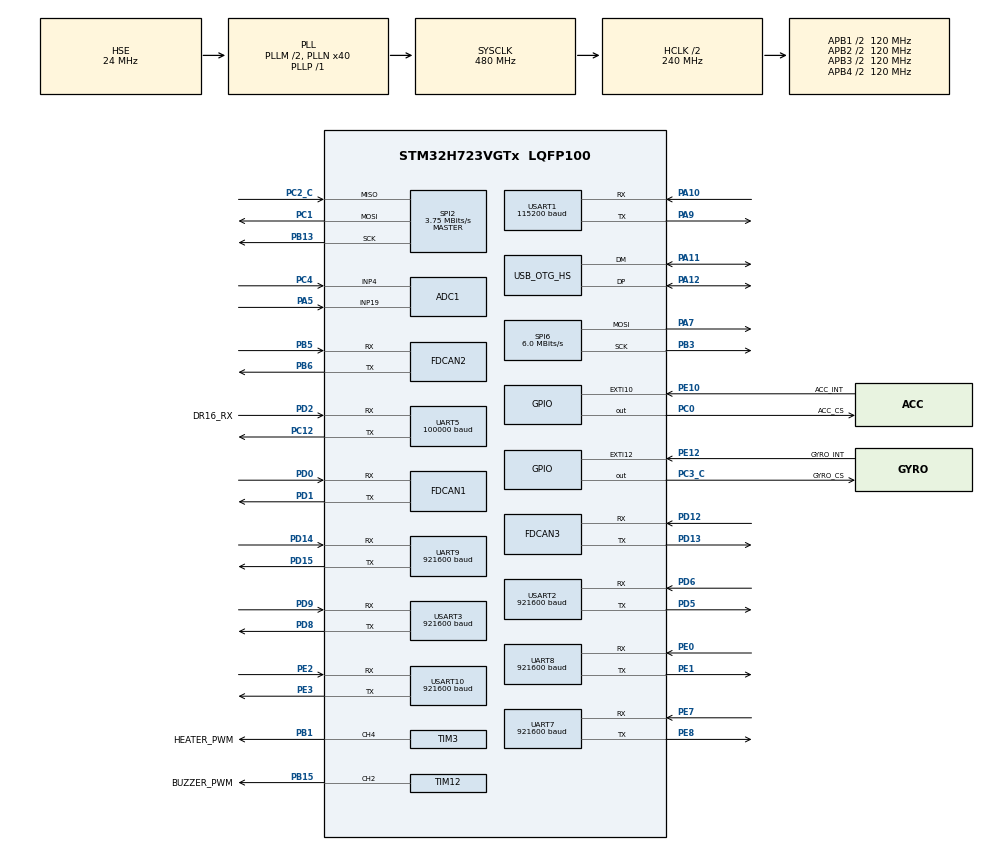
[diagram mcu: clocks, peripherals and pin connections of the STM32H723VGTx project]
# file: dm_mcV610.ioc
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ADC1.Channel-0\#ChannelRegularConversion=ADC_CHANNEL_4
ADC1.Channel-1\#ChannelRegularConversion=ADC_CHANNEL_19
ADC1.ClockPrescaler=ADC_CLOCK_ASYNC_DIV1
ADC1.ContinuousConvMode=ENABLE
ADC1.ConversionDataManagement=ADC_CONVERSIONDATA_DMA_CIRCULAR
ADC1.NbrOfConversion=2
ADC1.NbrOfConversionFlag=1
ADC1.OffsetNumber-0\#ChannelRegularConversion=ADC_OFFSET_NONE
ADC1.OffsetNumber-1\#ChannelRegularConversion=ADC_OFFSET_NONE
ADC1.OffsetSignedSaturation-0\#ChannelRegularConversion=DISABLE
ADC1.OffsetSignedSaturation-1\#ChannelRegularConversion=DISABLE
ADC1.Rank-0\#ChannelRegularConversion=1
ADC1.Rank-1\#ChannelRegularConversion=2
ADC1.SamplingTime-0\#ChannelRegularConversion=ADC_SAMPLETIME_32CYCLES_5
ADC1.SamplingTime-1\#ChannelRegularConversion=ADC_SAMPLETIME_32CYCLES_5
ADC1.master=1
CORTEX_M7.CPU_DCache=Enabled
CORTEX_M7.CPU_ICache=Enabled
CORTEX_M7.default_mode_Activation=1
Dma.ADC1.0.Direction=DMA_PERIPH_TO_MEMORY
Dma.ADC1.0.EventEnable=DISABLE
Dma.ADC1.0.FIFOMode=DMA_FIFOMODE_DISABLE
Dma.ADC1.0.Instance=DMA1_Stream0
Dma.ADC1.0.MemDataAlignment=DMA_MDATAALIGN_HALFWORD
Dma.ADC1.0.MemInc=DMA_MINC_ENABLE
Dma.ADC1.0.Mode=DMA_CIRCULAR
Dma.ADC1.0.PeriphDataAlignment=DMA_PDATAALIGN_HALFWORD
Dma.ADC1.0.PeriphInc=DMA_PINC_DISABLE
Dma.ADC1.0.Polarity=HAL_DMAMUX_REQ_GEN_RISING
Dma.ADC1.0.Priority=DMA_PRIORITY_LOW
Dma.ADC1.0.RequestNumber=1
Dma.ADC1.0.SignalID=NONE
Dma.ADC1.0.SyncEnable=DISABLE
Dma.ADC1.0.SyncPolarity=HAL_DMAMUX_SYNC_NO_EVENT
Dma.ADC1.0.SyncRequestNumber=1
Dma.ADC1.0.SyncSignalID=NONE
Dma.Request0=ADC1
Dma.Request1=UART5_RX
Dma.Request10=USART10_RX
Dma.Request11=USART10_TX
Dma.Request12=USART1_RX
Dma.Request13=USART1_TX
Dma.Request14=UART8_RX
Dma.Request15=UART9_RX
Dma.Request2=SPI2_RX
Dma.Request3=SPI2_TX
Dma.Request4=UART7_RX
Dma.Request5=UART7_TX
Dma.Request6=USART2_RX
Dma.Request7=USART2_TX
Dma.Request8=USART3_RX
Dma.Request9=USART3_TX
Dma.SPI2_RX.2.Direction=DMA_PERIPH_TO_MEMORY
Dma.SPI2_RX.2.EventEnable=DISABLE
Dma.SPI2_RX.2.FIFOMode=DMA_FIFOMODE_DISABLE
Dma.SPI2_RX.2.Instance=DMA1_Stream2
Dma.SPI2_RX.2.MemDataAlignment=DMA_MDATAALIGN_BYTE
Dma.SPI2_RX.2.MemInc=DMA_MINC_ENABLE
Dma.SPI2_RX.2.Mode=DMA_NORMAL
Dma.SPI2_RX.2.PeriphDataAlignment=DMA_PDATAALIGN_BYTE
Dma.SPI2_RX.2.PeriphInc=DMA_PINC_DISABLE
Dma.SPI2_RX.2.Polarity=HAL_DMAMUX_REQ_GEN_RISING
Dma.SPI2_RX.2.Priority=DMA_PRIORITY_LOW
Dma.SPI2_RX.2.RequestNumber=1
Dma.SPI2_RX.2.SignalID=NONE
Dma.SPI2_RX.2.SyncEnable=DISABLE
Dma.SPI2_RX.2.SyncPolarity=HAL_DMAMUX_SYNC_NO_EVENT
Dma.SPI2_RX.2.SyncRequestNumber=1
Dma.SPI2_RX.2.SyncSignalID=NONE
Dma.SPI2_TX.3.Direction=DMA_MEMORY_TO_PERIPH
Dma.SPI2_TX.3.EventEnable=DISABLE
Dma.SPI2_TX.3.FIFOMode=DMA_FIFOMODE_DISABLE
Dma.SPI2_TX.3.Instance=DMA1_Stream3
Dma.SPI2_TX.3.MemDataAlignment=DMA_MDATAALIGN_BYTE
Dma.SPI2_TX.3.MemInc=DMA_MINC_ENABLE
Dma.SPI2_TX.3.Mode=DMA_NORMAL
Dma.SPI2_TX.3.PeriphDataAlignment=DMA_PDATAALIGN_BYTE
Dma.SPI2_TX.3.PeriphInc=DMA_PINC_DISABLE
Dma.SPI2_TX.3.Polarity=HAL_DMAMUX_REQ_GEN_RISING
Dma.SPI2_TX.3.Priority=DMA_PRIORITY_LOW
Dma.SPI2_TX.3.RequestNumber=1
Dma.SPI2_TX.3.SignalID=NONE
Dma.SPI2_TX.3.SyncEnable=DISABLE
Dma.SPI2_TX.3.SyncPolarity=HAL_DMAMUX_SYNC_NO_EVENT
Dma.SPI2_TX.3.SyncRequestNumber=1
Dma.SPI2_TX.3.SyncSignalID=NONE
Dma.UART5_RX.1.Direction=DMA_PERIPH_TO_MEMORY
Dma.UART5_RX.1.EventEnable=DISABLE
Dma.UART5_RX.1.FIFOMode=DMA_FIFOMODE_DISABLE
Dma.UART5_RX.1.Instance=DMA1_Stream1
Dma.UART5_RX.1.MemDataAlignment=DMA_MDATAALIGN_BYTE
Dma.UART5_RX.1.MemInc=DMA_MINC_ENABLE
Dma.UART5_RX.1.Mode=DMA_NORMAL
Dma.UART5_RX.1.PeriphDataAlignment=DMA_PDATAALIGN_BYTE
Dma.UART5_RX.1.PeriphInc=DMA_PINC_DISABLE
Dma.UART5_RX.1.Polarity=HAL_DMAMUX_REQ_GEN_RISING
Dma.UART5_RX.1.Priority=DMA_PRIORITY_LOW
Dma.UART5_RX.1.RequestNumber=1
Dma.UART5_RX.1.SignalID=NONE
Dma.UART5_RX.1.SyncEnable=DISABLE
Dma.UART5_RX.1.SyncPolarity=HAL_DMAMUX_SYNC_NO_EVENT
Dma.UART5_RX.1.SyncRequestNumber=1
Dma.UART5_RX.1.SyncSignalID=NONE
Dma.UART7_RX.4.Direction=DMA_PERIPH_TO_MEMORY
Dma.UART7_RX.4.EventEnable=DISABLE
Dma.UART7_RX.4.FIFOMode=DMA_FIFOMODE_DISABLE
Dma.UART7_RX.4.Instance=DMA1_Stream4
Dma.UART7_RX.4.MemDataAlignment=DMA_MDATAALIGN_BYTE
Dma.UART7_RX.4.MemInc=DMA_MINC_ENABLE
Dma.UART7_RX.4.Mode=DMA_NORMAL
Dma.UART7_RX.4.PeriphDataAlignment=DMA_PDATAALIGN_BYTE
Dma.UART7_RX.4.PeriphInc=DMA_PINC_DISABLE
Dma.UART7_RX.4.Polarity=HAL_DMAMUX_REQ_GEN_RISING
Dma.UART7_RX.4.Priority=DMA_PRIORITY_LOW
Dma.UART7_RX.4.RequestNumber=1
Dma.UART7_RX.4.SignalID=NONE
Dma.UART7_RX.4.SyncEnable=DISABLE
Dma.UART7_RX.4.SyncPolarity=HAL_DMAMUX_SYNC_NO_EVENT
Dma.UART7_RX.4.SyncRequestNumber=1
Dma.UART7_RX.4.SyncSignalID=NONE
Dma.UART7_TX.5.Direction=DMA_MEMORY_TO_PERIPH
Dma.UART7_TX.5.EventEnable=DISABLE
Dma.UART7_TX.5.FIFOMode=DMA_FIFOMODE_DISABLE
Dma.UART7_TX.5.Instance=DMA1_Stream5
Dma.UART7_TX.5.MemDataAlignment=DMA_MDATAALIGN_BYTE
Dma.UART7_TX.5.MemInc=DMA_MINC_ENABLE
Dma.UART7_TX.5.Mode=DMA_NORMAL
Dma.UART7_TX.5.PeriphDataAlignment=DMA_PDATAALIGN_BYTE
Dma.UART7_TX.5.PeriphInc=DMA_PINC_DISABLE
Dma.UART7_TX.5.Polarity=HAL_DMAMUX_REQ_GEN_RISING
Dma.UART7_TX.5.Priority=DMA_PRIORITY_LOW
Dma.UART7_TX.5.RequestNumber=1
Dma.UART7_TX.5.SignalID=NONE
Dma.UART7_TX.5.SyncEnable=DISABLE
Dma.UART7_TX.5.SyncPolarity=HAL_DMAMUX_SYNC_NO_EVENT
Dma.UART7_TX.5.SyncRequestNumber=1
Dma.UART7_TX.5.SyncSignalID=NONE
Dma.USART10_RX.10.Direction=DMA_PERIPH_TO_MEMORY
Dma.USART10_RX.10.EventEnable=DISABLE
Dma.USART10_RX.10.FIFOMode=DMA_FIFOMODE_DISABLE
Dma.USART10_RX.10.Instance=DMA2_Stream4
Dma.USART10_RX.10.MemDataAlignment=DMA_MDATAALIGN_BYTE
Dma.USART10_RX.10.MemInc=DMA_MINC_ENABLE
Dma.USART10_RX.10.Mode=DMA_NORMAL
Dma.USART10_RX.10.PeriphDataAlignment=DMA_PDATAALIGN_BYTE
Dma.USART10_RX.10.PeriphInc=DMA_PINC_DISABLE
Dma.USART10_RX.10.Polarity=HAL_DMAMUX_REQ_GEN_RISING
Dma.USART10_RX.10.Priority=DMA_PRIORITY_LOW
Dma.USART10_RX.10.RequestNumber=1
Dma.USART10_RX.10.SignalID=NONE
Dma.USART10_RX.10.SyncEnable=DISABLE
Dma.USART10_RX.10.SyncPolarity=HAL_DMAMUX_SYNC_NO_EVENT
Dma.USART10_RX.10.SyncRequestNumber=1
Dma.USART10_RX.10.SyncSignalID=NONE
Dma.USART10_TX.11.Direction=DMA_MEMORY_TO_PERIPH
Dma.USART10_TX.11.EventEnable=DISABLE
Dma.USART10_TX.11.FIFOMode=DMA_FIFOMODE_DISABLE
Dma.USART10_TX.11.Instance=DMA2_Stream5
Dma.USART10_TX.11.MemDataAlignment=DMA_MDATAALIGN_BYTE
Dma.USART10_TX.11.MemInc=DMA_MINC_ENABLE
Dma.USART10_TX.11.Mode=DMA_NORMAL
Dma.USART10_TX.11.PeriphDataAlignment=DMA_PDATAALIGN_BYTE
Dma.USART10_TX.11.PeriphInc=DMA_PINC_DISABLE
Dma.USART10_TX.11.Polarity=HAL_DMAMUX_REQ_GEN_RISING
Dma.USART10_TX.11.Priority=DMA_PRIORITY_LOW
Dma.USART10_TX.11.RequestNumber=1
Dma.USART10_TX.11.SignalID=NONE
Dma.USART10_TX.11.SyncEnable=DISABLE
Dma.USART10_TX.11.SyncPolarity=HAL_DMAMUX_SYNC_NO_EVENT
Dma.USART10_TX.11.SyncRequestNumber=1
Dma.USART10_TX.11.SyncSignalID=NONE
Dma.USART1_RX.12.Direction=DMA_PERIPH_TO_MEMORY
Dma.USART1_RX.12.EventEnable=DISABLE
Dma.USART1_RX.12.FIFOMode=DMA_FIFOMODE_DISABLE
Dma.USART1_RX.12.Instance=DMA1_Stream6
Dma.USART1_RX.12.MemDataAlignment=DMA_MDATAALIGN_BYTE
Dma.USART1_RX.12.MemInc=DMA_MINC_ENABLE
Dma.USART1_RX.12.Mode=DMA_NORMAL
Dma.USART1_RX.12.PeriphDataAlignment=DMA_PDATAALIGN_BYTE
Dma.USART1_RX.12.PeriphInc=DMA_PINC_DISABLE
Dma.USART1_RX.12.Polarity=HAL_DMAMUX_REQ_GEN_RISING
Dma.USART1_RX.12.Priority=DMA_PRIORITY_LOW
Dma.USART1_RX.12.RequestNumber=1
Dma.USART1_RX.12.SignalID=NONE
Dma.USART1_RX.12.SyncEnable=DISABLE
Dma.USART1_RX.12.SyncPolarity=HAL_DMAMUX_SYNC_NO_EVENT
Dma.USART1_RX.12.SyncRequestNumber=1
Dma.USART1_RX.12.SyncSignalID=NONE
Dma.USART1_TX.13.Direction=DMA_MEMORY_TO_PERIPH
Dma.USART1_TX.13.EventEnable=DISABLE
Dma.USART1_TX.13.FIFOMode=DMA_FIFOMODE_DISABLE
Dma.USART1_TX.13.Instance=DMA1_Stream7
Dma.USART1_TX.13.MemDataAlignment=DMA_MDATAALIGN_BYTE
Dma.USART1_TX.13.MemInc=DMA_MINC_ENABLE
Dma.USART1_TX.13.Mode=DMA_NORMAL
Dma.USART1_TX.13.PeriphDataAlignment=DMA_PDATAALIGN_BYTE
Dma.USART1_TX.13.PeriphInc=DMA_PINC_DISABLE
Dma.USART1_TX.13.Polarity=HAL_DMAMUX_REQ_GEN_RISING
Dma.USART1_TX.13.Priority=DMA_PRIORITY_LOW
Dma.USART1_TX.13.RequestNumber=1
Dma.USART1_TX.13.SignalID=NONE
Dma.USART1_TX.13.SyncEnable=DISABLE
Dma.USART1_TX.13.SyncPolarity=HAL_DMAMUX_SYNC_NO_EVENT
Dma.USART1_TX.13.SyncRequestNumber=1
Dma.USART1_TX.13.SyncSignalID=NONE
Dma.USART2_RX.6.Direction=DMA_PERIPH_TO_MEMORY
Dma.USART2_RX.6.EventEnable=DISABLE
Dma.USART2_RX.6.FIFOMode=DMA_FIFOMODE_DISABLE
Dma.USART2_RX.6.Instance=DMA2_Stream0
Dma.USART2_RX.6.MemDataAlignment=DMA_MDATAALIGN_BYTE
Dma.USART2_RX.6.MemInc=DMA_MINC_ENABLE
Dma.USART2_RX.6.Mode=DMA_NORMAL
Dma.USART2_RX.6.PeriphDataAlignment=DMA_PDATAALIGN_BYTE
Dma.USART2_RX.6.PeriphInc=DMA_PINC_DISABLE
Dma.USART2_RX.6.Polarity=HAL_DMAMUX_REQ_GEN_RISING
Dma.USART2_RX.6.Priority=DMA_PRIORITY_LOW
Dma.USART2_RX.6.RequestNumber=1
Dma.USART2_RX.6.SignalID=NONE
Dma.USART2_RX.6.SyncEnable=DISABLE
Dma.USART2_RX.6.SyncPolarity=HAL_DMAMUX_SYNC_NO_EVENT
Dma.USART2_RX.6.SyncRequestNumber=1
Dma.USART2_RX.6.SyncSignalID=NONE
Dma.USART2_TX.7.Direction=DMA_MEMORY_TO_PERIPH
Dma.USART2_TX.7.EventEnable=DISABLE
Dma.USART2_TX.7.FIFOMode=DMA_FIFOMODE_DISABLE
Dma.USART2_TX.7.Instance=DMA2_Stream1
Dma.USART2_TX.7.MemDataAlignment=DMA_MDATAALIGN_BYTE
Dma.USART2_TX.7.MemInc=DMA_MINC_ENABLE
Dma.USART2_TX.7.Mode=DMA_NORMAL
Dma.USART2_TX.7.PeriphDataAlignment=DMA_PDATAALIGN_BYTE
Dma.USART2_TX.7.PeriphInc=DMA_PINC_DISABLE
Dma.USART2_TX.7.Polarity=HAL_DMAMUX_REQ_GEN_RISING
Dma.USART2_TX.7.Priority=DMA_PRIORITY_LOW
Dma.USART2_TX.7.RequestNumber=1
Dma.USART2_TX.7.SignalID=NONE
Dma.USART2_TX.7.SyncEnable=DISABLE
Dma.USART2_TX.7.SyncPolarity=HAL_DMAMUX_SYNC_NO_EVENT
Dma.USART2_TX.7.SyncRequestNumber=1
Dma.USART2_TX.7.SyncSignalID=NONE
Dma.USART3_RX.8.Direction=DMA_PERIPH_TO_MEMORY
Dma.USART3_RX.8.EventEnable=DISABLE
Dma.USART3_RX.8.FIFOMode=DMA_FIFOMODE_DISABLE
Dma.USART3_RX.8.Instance=DMA2_Stream2
Dma.USART3_RX.8.MemDataAlignment=DMA_MDATAALIGN_BYTE
Dma.USART3_RX.8.MemInc=DMA_MINC_ENABLE
Dma.USART3_RX.8.Mode=DMA_NORMAL
Dma.USART3_RX.8.PeriphDataAlignment=DMA_PDATAALIGN_BYTE
Dma.USART3_RX.8.PeriphInc=DMA_PINC_DISABLE
Dma.USART3_RX.8.Polarity=HAL_DMAMUX_REQ_GEN_RISING
Dma.USART3_RX.8.Priority=DMA_PRIORITY_LOW
Dma.USART3_RX.8.RequestNumber=1
Dma.USART3_RX.8.SignalID=NONE
Dma.USART3_RX.8.SyncEnable=DISABLE
Dma.USART3_RX.8.SyncPolarity=HAL_DMAMUX_SYNC_NO_EVENT
Dma.USART3_RX.8.SyncRequestNumber=1
Dma.USART3_RX.8.SyncSignalID=NONE
Dma.USART3_TX.9.Direction=DMA_MEMORY_TO_PERIPH
Dma.USART3_TX.9.EventEnable=DISABLE
Dma.USART3_TX.9.FIFOMode=DMA_FIFOMODE_DISABLE
Dma.USART3_TX.9.Instance=DMA2_Stream3
Dma.USART3_TX.9.MemDataAlignment=DMA_MDATAALIGN_BYTE
Dma.USART3_TX.9.MemInc=DMA_MINC_ENABLE
Dma.USART3_TX.9.Mode=DMA_NORMAL
Dma.USART3_TX.9.PeriphDataAlignment=DMA_PDATAALIGN_BYTE
Dma.USART3_TX.9.PeriphInc=DMA_PINC_DISABLE
Dma.USART3_TX.9.Polarity=HAL_DMAMUX_REQ_GEN_RISING
Dma.USART3_TX.9.Priority=DMA_PRIORITY_LOW
Dma.USART3_TX.9.RequestNumber=1
Dma.USART3_TX.9.SignalID=NONE
Dma.USART3_TX.9.SyncEnable=DISABLE
Dma.USART3_TX.9.SyncPolarity=HAL_DMAMUX_SYNC_NO_EVENT
Dma.USART3_TX.9.SyncRequestNumber=1
Dma.USART3_TX.9.SyncSignalID=NONE
Dma.UART8_RX.14.Direction=DMA_PERIPH_TO_MEMORY
Dma.UART8_RX.14.EventEnable=DISABLE
Dma.UART8_RX.14.FIFOMode=DMA_FIFOMODE_DISABLE
Dma.UART8_RX.14.Instance=DMA2_Stream6
Dma.UART8_RX.14.MemDataAlignment=DMA_MDATAALIGN_BYTE
Dma.UART8_RX.14.MemInc=DMA_MINC_ENABLE
Dma.UART8_RX.14.Mode=DMA_NORMAL
Dma.UART8_RX.14.PeriphDataAlignment=DMA_PDATAALIGN_BYTE
Dma.UART8_RX.14.PeriphInc=DMA_PINC_DISABLE
Dma.UART8_RX.14.Polarity=HAL_DMAMUX_REQ_GEN_RISING
Dma.UART8_RX.14.Priority=DMA_PRIORITY_LOW
Dma.UART8_RX.14.RequestNumber=1
Dma.UART8_RX.14.SignalID=NONE
Dma.UART8_RX.14.SyncEnable=DISABLE
Dma.UART8_RX.14.SyncPolarity=HAL_DMAMUX_SYNC_NO_EVENT
Dma.UART8_RX.14.SyncRequestNumber=1
Dma.UART8_RX.14.SyncSignalID=NONE
Dma.UART9_RX.15.Direction=DMA_PERIPH_TO_MEMORY
Dma.UART9_RX.15.EventEnable=DISABLE
Dma.UART9_RX.15.FIFOMode=DMA_FIFOMODE_DISABLE
Dma.UART9_RX.15.Instance=DMA2_Stream7
Dma.UART9_RX.15.MemDataAlignment=DMA_MDATAALIGN_BYTE
Dma.UART9_RX.15.MemInc=DMA_MINC_ENABLE
Dma.UART9_RX.15.Mode=DMA_NORMAL
Dma.UART9_RX.15.PeriphDataAlignment=DMA_PDATAALIGN_BYTE
Dma.UART9_RX.15.PeriphInc=DMA_PINC_DISABLE
Dma.UART9_RX.15.Polarity=HAL_DMAMUX_REQ_GEN_RISING
Dma.UART9_RX.15.Priority=DMA_PRIORITY_LOW
Dma.UART9_RX.15.RequestNumber=1
Dma.UART9_RX.15.SignalID=NONE
Dma.UART9_RX.15.SyncEnable=DISABLE
Dma.UART9_RX.15.SyncPolarity=HAL_DMAMUX_SYNC_NO_EVENT
Dma.UART9_RX.15.SyncRequestNumber=1
Dma.UART9_RX.15.SyncSignalID=NONE
FDCAN1.AutoRetransmission=ENABLE
FDCAN1.CalculateBaudRateNominal=1000000
FDCAN1.CalculateTimeBitNominal=1000
FDCAN1.CalculateTimeQuantumNominal=25.0
FDCAN1.NominalPrescaler=3
FDCAN1.NominalTimeSeg1=29
FDCAN1.NominalTimeSeg2=10
FDCAN1.RxFifo0ElmtsNbr=32
FDCAN1.StdFiltersNbr=1
FDCAN1.TxFifoQueueElmtsNbr=32
FDCAN2.AutoRetransmission=ENABLE
FDCAN2.CalculateBaudRateNominal=1000000
FDCAN2.CalculateTimeBitNominal=1000
FDCAN2.CalculateTimeQuantumNominal=25.0
FDCAN2.MessageRAMOffset=0x406
FDCAN2.NominalPrescaler=3
FDCAN2.NominalTimeSeg1=29
FDCAN2.NominalTimeSeg2=10
FDCAN2.ProtocolException=DISABLE
FDCAN2.RxFifo1ElmtsNbr=32
FDCAN2.StdFiltersNbr=1
FDCAN2.TransmitPause=DISABLE
FDCAN2.TxEventsNbr=8
FDCAN2.TxFifoQueueElmtsNbr=32
FDCAN3.AutoRetransmission=ENABLE
FDCAN3.CalculateBaudRateNominal=1000000
FDCAN3.CalculateTimeBitNominal=1000
FDCAN3.CalculateTimeQuantumNominal=25.0
FDCAN3.MessageRAMOffset=0x812
FDCAN3.NominalPrescaler=3
FDCAN3.NominalTimeSeg1=29
FDCAN3.NominalTimeSeg2=10
FDCAN3.RxFifo1ElmtsNbr=32
FDCAN3.StdFiltersNbr=1
FDCAN3.TxEventsNbr=4
FDCAN3.TxFifoQueueElmtsNbr=32
FREERTOS.configCHECK_FOR_STACK_OVERFLOW=1
FREERTOS.configGENERATE_RUN_TIME_STATS=0
FREERTOS.configMAX_PRIORITIES=10
FREERTOS.configTIMER_TASK_PRIORITY=9
FREERTOS.configTOTAL_HEAP_SIZE=30720
FREERTOS.configUSE_STATS_FORMATTING_FUNCTIONS=0
FREERTOS.configUSE_TIMERS=1
Mcu.Family=STM32H7
Mcu.Name=STM32H723VGTx
Mcu.Package=LQFP100
NVIC.DMA1_Stream0_IRQn=true\:5\:0\:false\:false\:true\:true\:false\:true\:true
NVIC.DMA1_Stream1_IRQn=true\:5\:0\:false\:false\:true\:true\:false\:true\:true
NVIC.DMA1_Stream2_IRQn=true\:5\:0\:false\:false\:true\:true\:false\:true\:true
NVIC.DMA1_Stream3_IRQn=true\:5\:0\:false\:false\:true\:true\:false\:true\:true
NVIC.DMA1_Stream4_IRQn=true\:5\:0\:false\:false\:true\:true\:false\:true\:true
NVIC.DMA1_Stream5_IRQn=true\:5\:0\:false\:false\:true\:true\:false\:true\:true
NVIC.DMA1_Stream6_IRQn=true\:5\:0\:false\:false\:true\:true\:false\:true\:true
NVIC.DMA1_Stream7_IRQn=true\:5\:0\:false\:false\:true\:true\:false\:true\:true
NVIC.DMA2_Stream0_IRQn=true\:5\:0\:false\:false\:true\:true\:false\:true\:true
NVIC.DMA2_Stream1_IRQn=true\:5\:0\:false\:false\:true\:true\:false\:true\:true
NVIC.DMA2_Stream2_IRQn=true\:5\:0\:false\:false\:true\:true\:false\:true\:true
NVIC.DMA2_Stream3_IRQn=true\:5\:0\:false\:false\:true\:true\:false\:true\:true
NVIC.DMA2_Stream4_IRQn=true\:5\:0\:false\:false\:true\:true\:false\:true\:true
NVIC.DMA2_Stream5_IRQn=true\:5\:0\:false\:false\:true\:true\:false\:true\:true
NVIC.DMA2_Stream6_IRQn=true\:5\:0\:false\:false\:true\:true\:false\:true\:true
NVIC.DMA2_Stream7_IRQn=true\:5\:0\:false\:false\:true\:true\:false\:true\:true
NVIC.EXTI15_10_IRQn=true\:5\:0\:true\:false\:true\:true\:true\:true\:true
NVIC.FDCAN1_IT0_IRQn=true\:5\:0\:false\:false\:true\:true\:true\:true\:true
NVIC.FDCAN1_IT1_IRQn=true\:5\:0\:false\:false\:true\:true\:true\:true\:true
NVIC.FDCAN2_IT0_IRQn=true\:5\:0\:false\:false\:true\:true\:true\:true\:true
NVIC.FDCAN2_IT1_IRQn=true\:5\:0\:false\:false\:true\:true\:true\:true\:true
NVIC.FDCAN3_IT0_IRQn=true\:5\:0\:false\:false\:true\:true\:true\:true\:true
NVIC.FDCAN3_IT1_IRQn=true\:5\:0\:false\:false\:true\:true\:true\:true\:true
NVIC.OTG_HS_IRQn=true\:5\:0\:false\:false\:true\:true\:false\:true\:true
NVIC.PriorityGroup=NVIC_PRIORITYGROUP_4
NVIC.SPI2_IRQn=true\:5\:0\:false\:false\:true\:true\:false\:true\:true
NVIC.TIM4_IRQn=true\:15\:0\:false\:false\:true\:false\:false\:true\:true
NVIC.TimeBase=TIM4_IRQn
NVIC.TimeBaseIP=TIM4
NVIC.UART8_IRQn=true\:5\:0\:false\:false\:true\:true\:true\:true\:true
NVIC.UART9_IRQn=true\:5\:0\:false\:false\:true\:true\:true\:true\:true
NVIC.UART5_IRQn=true\:5\:0\:false\:false\:true\:true\:true\:true\:true
NVIC.UART7_IRQn=true\:5\:0\:false\:false\:true\:true\:true\:true\:true
NVIC.USART10_IRQn=true\:5\:0\:false\:false\:true\:true\:true\:true\:true
NVIC.USART1_IRQn=true\:5\:0\:false\:false\:true\:true\:true\:true\:true
NVIC.USART2_IRQn=true\:5\:0\:false\:false\:true\:true\:true\:true\:true
NVIC.USART3_IRQn=true\:5\:0\:false\:false\:true\:true\:true\:true\:true
PA10.GPIO_PuPd=GPIO_PULLUP
PA10.Mode=Asynchronous
PA10.Signal=USART1_RX
PA11.Mode=Device_Only_FS
PA11.Signal=USB_OTG_HS_DM
PA12.Mode=Device_Only_FS
PA12.Signal=USB_OTG_HS_DP
PA5.Signal=ADCx_INP19
PA7.Mode=TX_Only_Simplex_Unidirect_Master
PA7.Signal=SPI6_MOSI
PA9.Mode=Asynchronous
PA9.Signal=USART1_TX
PB1.GPIO_Label=HEATER_PWM
PB1.Signal=S_TIM3_CH4
PB13.GPIO_Speed=GPIO_SPEED_FREQ_VERY_HIGH
PB13.Mode=Full_Duplex_Master
PB13.Signal=SPI2_SCK
PB15.GPIO_Label=BUZZER_PWM
PB15.Signal=S_TIM12_CH2
PB3(JTDO/TRACESWO).Mode=TX_Only_Simplex_Unidirect_Master
PB3(JTDO/TRACESWO).Signal=SPI6_SCK
PB5.Mode=FDCAN_Activate
PB5.Signal=FDCAN2_RX
PB6.Mode=FDCAN_Activate
PB6.Signal=FDCAN2_TX
PC0.GPIO_Label=ACC_CS
PC0.GPIO_Speed=GPIO_SPEED_FREQ_VERY_HIGH
PC0.PinState=GPIO_PIN_SET
PC0.Signal=GPIO_Output
PC1.GPIO_Speed=GPIO_SPEED_FREQ_VERY_HIGH
PC1.Mode=Full_Duplex_Master
PC1.Signal=SPI2_MOSI
PC12.Mode=Asynchronous
PC12.Signal=UART5_TX
PC2_C.GPIO_Speed=GPIO_SPEED_FREQ_VERY_HIGH
PC2_C.Mode=Full_Duplex_Master
PC2_C.Signal=SPI2_MISO
PC3_C.GPIO_Label=GYRO_CS
PC3_C.GPIO_Speed=GPIO_SPEED_FREQ_VERY_HIGH
PC3_C.PinState=GPIO_PIN_SET
PC3_C.Signal=GPIO_Output
PC4.Signal=ADCx_INP4
PD0.Mode=FDCAN_Activate
PD0.Signal=FDCAN1_RX
PD1.Mode=FDCAN_Activate
PD1.Signal=FDCAN1_TX
PD12.Mode=FDCAN_Activate
PD12.Signal=FDCAN3_RX
PD13.Mode=FDCAN_Activate
PD13.Signal=FDCAN3_TX
PD14.Mode=Asynchronous
PD14.Signal=UART9_RX
PD15.Mode=Asynchronous
PD15.Signal=UART9_TX
PD2.GPIO_Label=DR16_RX
PD2.GPIO_PuPd=GPIO_PULLUP
PD2.Mode=Asynchronous
PD2.Signal=UART5_RX
PD5.Mode=Asynchronous
PD5.Signal=USART2_TX
PD6.GPIO_PuPd=GPIO_PULLUP
PD6.Mode=Asynchronous
PD6.Signal=USART2_RX
PD8.Mode=Asynchronous
PD8.Signal=USART3_TX
PD9.GPIO_PuPd=GPIO_PULLUP
PD9.Mode=Asynchronous
PD9.Signal=USART3_RX
PE0.GPIO_PuPd=GPIO_PULLUP
PE0.Mode=Asynchronous
PE0.Signal=UART8_RX
PE1.Mode=Asynchronous
PE1.Signal=UART8_TX
PE10.GPIO_Label=ACC_INT
PE10.GPIO_PuPd=GPIO_NOPULL
PE10.Signal=GPXTI10
PE12.GPIO_Label=GYRO_INT
PE12.GPIO_PuPd=GPIO_NOPULL
PE12.Signal=GPXTI12
PE2.GPIO_PuPd=GPIO_PULLUP
PE2.Mode=Asynchronous
PE2.Signal=USART10_RX
PE3.Mode=Asynchronous
PE3.Signal=USART10_TX
PE7.GPIO_PuPd=GPIO_PULLUP
PE7.Mode=Asynchronous
PE7.Signal=UART7_RX
PE8.Mode=Asynchronous
PE8.Signal=UART7_TX
PH0-OSC_IN.Mode=HSE-External-Oscillator
PH0-OSC_IN.Signal=RCC_OSC_IN
PH1-OSC_OUT.Mode=HSE-External-Oscillator
PH1-OSC_OUT.Signal=RCC_OSC_OUT
ProjectManager.HeapSize=0x200
ProjectManager.StackSize=0x400
ProjectManager.TargetToolchain=MDK-ARM V5.32
RCC.ADCCLockSelection=RCC_ADCCLKSOURCE_PLL3
RCC.ADCFreq_Value=48000000
RCC.APB1Freq_Value=120000000
RCC.APB2Freq_Value=120000000
RCC.APB3Freq_Value=120000000
RCC.APB4Freq_Value=120000000
RCC.CKPERSourceSelection=RCC_CLKPSOURCE_HSE
RCC.CortexFreq_Value=480000000
RCC.D1PPRE=RCC_APB3_DIV2
RCC.D2PPRE1=RCC_APB1_DIV2
RCC.D2PPRE2=RCC_APB2_DIV2
RCC.D3PPRE=RCC_APB4_DIV2
RCC.DIVM1=2
RCC.DIVM2=2
RCC.DIVM3=2
RCC.DIVN1=40
RCC.DIVN2=32
RCC.DIVN3=16
RCC.DIVP1=1
RCC.DIVQ1=4
RCC.DIVR3=4
RCC.HCLKFreq_Value=240000000
RCC.HPRE=RCC_HCLK_DIV2
RCC.HSE_VALUE=24000000
RCC.PLL1_VCI_Range-AdvancedSettings=RCC_PLL1VCIRANGE_3
RCC.PLL1_VCO_SEL-AdvancedSettings=RCC_PLL1VCOWIDE
RCC.PLL2FRACN=0
RCC.PLL2_VCI_Range-AdvancedSettings=RCC_PLL2VCIRANGE_3
RCC.PLL2_VCO_SEL-AdvancedSettings=RCC_PLL2VCOWIDE
RCC.PLL3FRACN=0
RCC.PLL3_VCO_SEL-AdvancedSettings=RCC_PLL3VCOWIDE
RCC.PLLFRACN=0
RCC.PLLSourceVirtual=RCC_PLLSOURCE_HSE
RCC.SPI6CLockSelection=RCC_SPI6CLKSOURCE_HSE
RCC.SYSCLKFreq_VALUE=480000000
RCC.SYSCLKSource=RCC_SYSCLKSOURCE_PLLCLK
RCC.USBCLockSelection=RCC_USBCLKSOURCE_HSI48
RCC.USBFreq_Value=48000000
SH.ADCx_INP19.0=ADC1_INP19,IN19-Single-Ended
SH.ADCx_INP4.0=ADC1_INP4,IN4-Single-Ended
SH.S_TIM12_CH2.0=TIM12_CH2,PWM Generation2 CH2
SH.S_TIM3_CH4.0=TIM3_CH4,PWM Generation4 CH4
SPI2.BaudRatePrescaler=SPI_BAUDRATEPRESCALER_32
SPI2.CLKPhase=SPI_PHASE_2EDGE
SPI2.CLKPolarity=SPI_POLARITY_HIGH
SPI2.CalculateBaudRate=3.75 MBits/s
SPI2.DataSize=SPI_DATASIZE_8BIT
SPI2.Direction=SPI_DIRECTION_2LINES
SPI2.Mode=SPI_MODE_MASTER
SPI2.VirtualType=VM_MASTER
SPI6.BaudRatePrescaler=SPI_BAUDRATEPRESCALER_4
SPI6.CalculateBaudRate=6.0 MBits/s
SPI6.DataSize=SPI_DATASIZE_8BIT
SPI6.Direction=SPI_DIRECTION_2LINES_TXONLY
SPI6.Mode=SPI_MODE_MASTER
SPI6.VirtualType=VM_MASTER
TIM12.Channel-PWM\ Generation2\ CH2=TIM_CHANNEL_2
TIM12.OC2Preload_PWM=DISABLE
TIM12.Period=250-1
TIM12.Prescaler=240-1
TIM3.Channel-PWM\ Generation4\ CH4=TIM_CHANNEL_4
TIM3.Period=10000-1
TIM3.Prescaler=240-1
UART5.BaudRate=100000
UART5.Mode=MODE_RX
UART5.Parity=PARITY_EVEN
UART5.StopBits=UART_STOPBITS_2
UART5.WordLength=WORDLENGTH_9B
UART8.BaudRate=921600
UART8.VirtualMode=VM_ASYNC
UART7.BaudRate=921600
UART9.BaudRate=921600
UART9.VirtualMode=VM_ASYNC
USART1.BaudRate=115200
USART1.VirtualMode-Asynchronous=VM_ASYNC
USART10.BaudRate=921600
USART10.VirtualMode=VM_ASYNC
USART2.BaudRate=921600
USART2.VirtualMode-Asynchronous=VM_ASYNC
USART3.BaudRate=921600
USART3.VirtualMode-Asynchronous=VM_ASYNC
USB_DEVICE.CLASS_NAME_HS=CDC
USB_DEVICE.VirtualMode=Cdc
USB_DEVICE.VirtualModeHS=Cdc_HS
USB_OTG_HS.VirtualMode-Device_Only_FS=Device_Only_FS
VP_FREERTOS_VS_CMSIS_V1.Mode=CMSIS_V1
VP_SYS_VS_tim4.Mode=TIM4
VP_USB_DEVICE_VS_USB_DEVICE_CDC_HS.Mode=CDC_HS
board=custom

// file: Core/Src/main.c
/* USER CODE BEGIN Header */
/**
  ******************************************************************************
  * @file           : main.c
  * @brief          : Main program body
  ******************************************************************************
  * @attention
  *
  * Copyright (c) 2026 STMicroelectronics.
  * All rights reserved.
  *
  * This software is licensed under terms that can be found in the LICENSE file
  * in the root directory of this software component.
  * If no LICENSE file comes with this software, it is provided AS-IS.
  *
  ******************************************************************************
  */
/* USER CODE END Header */
#include "main.h"
#include "cmsis_os.h"
#include "adc.h"
#include "dma.h"
#include "fdcan.h"
#include "spi.h"
#include "tim.h"
#include "usart.h"
#include "usb_device.h"
#include "gpio.h"

/* USER CODE BEGIN Includes */
#include "task.h"
/* USER CODE END Includes */

/* USER CODE BEGIN PTD */
/* 临时黑匣子：Error_Handler 一旦被执行，就把当时的现场留在 g_crash 里，
 * 调试器直接读这个结构体就能知道「谁、从哪、什么时候」把系统带死的。
 * 排查完删掉即可。 */
typedef struct
{
  uint32_t magic;      /* 0x43524153('CRAS') 表示记录有效 */
  uint32_t hits;       /* 进入 Error_Handler 的次数 */
  uint32_t lr;         /* 调用者返回地址 */
  uint32_t psp;        /* 任务栈指针 */
  uint32_t msp;        /* 中断栈指针 */
  uint32_t ipsr;       /* 0=线程模式(任务里)，非0=中断里 */
  uint32_t tick;       /* HAL 时基，单位 ms */
  uint32_t tcb;        /* 当时的 pxCurrentTCB */
  char     task[16];   /* 当时的任务名 */
} CrashRecord_t;
/* USER CODE END PTD */

/* USER CODE BEGIN PV */
volatile CrashRecord_t g_crash;
/* USER CODE END PV */

void SystemClock_Config(void);
static void MPU_Config(void);
void MX_FREERTOS_Init(void);
/* USER CODE BEGIN PFP */
/* FreeRTOS 当前任务控制块，定义在 tasks.c，用来在黑匣子里记录当时的任务 */
extern void * volatile pxCurrentTCB;
/* USER CODE END PFP */

int main(void)
{

  /* MPU Configuration--------------------------------------------------------*/
  MPU_Config();
/* Enable the CPU Cache */

  /* Enable I-Cache---------------------------------------------------------*/
  SCB_EnableICache();

  /* Enable D-Cache---------------------------------------------------------*/
  SCB_EnableDCache();

  /* MCU Configuration--------------------------------------------------------*/

  /* Reset of all peripherals, Initializes the Flash interface and the Systick. */
  HAL_Init();

  /* Configure the system clock */
  SystemClock_Config();

  /* Initialize all configured peripherals */
  MX_GPIO_Init();
  MX_DMA_Init();
  MX_ADC1_Init();
  MX_UART5_Init();
  MX_FDCAN1_Init();
  MX_FDCAN2_Init();
  MX_FDCAN3_Init();
  MX_SPI2_Init();
  MX_SPI6_Init();
  MX_UART7_Init();
  MX_USART2_UART_Init();
  MX_USART3_UART_Init();
  MX_USART10_UART_Init();
  MX_UART8_Init();
  MX_UART9_Init();
  MX_USART1_UART_Init();
  MX_TIM3_Init();
  MX_TIM12_Init();

  /* Call init function for freertos objects (in freertos.c) */
  MX_FREERTOS_Init();

  /* Start scheduler */
  osKernelStart();

  /* We should never get here as control is now taken by the scheduler */
  /* Infinite loop */
  while (1)
  {

  }
}

void SystemClock_Config(void)
{
  RCC_OscInitTypeDef RCC_OscInitStruct = {0};
  RCC_ClkInitTypeDef RCC_ClkInitStruct = {0};

  /** Supply configuration update enable
  */
  HAL_PWREx_ConfigSupply(PWR_LDO_SUPPLY);

  /** Configure the main internal regulator output voltage
  */
  __HAL_PWR_VOLTAGESCALING_CONFIG(PWR_REGULATOR_VOLTAGE_SCALE0);

  while(!__HAL_PWR_GET_FLAG(PWR_FLAG_VOSRDY)) {}

  /** Initializes the RCC Oscillators according to the specified parameters
  * in the RCC_OscInitTypeDef structure.
  */
  RCC_OscInitStruct.OscillatorType = RCC_OSCILLATORTYPE_HSI48|RCC_OSCILLATORTYPE_HSE;
  RCC_OscInitStruct.HSEState = RCC_HSE_ON;
  RCC_OscInitStruct.HSI48State = RCC_HSI48_ON;
  RCC_OscInitStruct.PLL.PLLState = RCC_PLL_ON;
  RCC_OscInitStruct.PLL.PLLSource = RCC_PLLSOURCE_HSE;
  RCC_OscInitStruct.PLL.PLLM = 2;
  RCC_OscInitStruct.PLL.PLLN = 40;
  RCC_OscInitStruct.PLL.PLLP = 1;
  RCC_OscInitStruct.PLL.PLLQ = 4;
  RCC_OscInitStruct.PLL.PLLR = 2;
  RCC_OscInitStruct.PLL.PLLRGE = RCC_PLL1VCIRANGE_3;
  RCC_OscInitStruct.PLL.PLLVCOSEL = RCC_PLL1VCOWIDE;
  RCC_OscInitStruct.PLL.PLLFRACN = 0;
  if (HAL_RCC_OscConfig(&RCC_OscInitStruct) != HAL_OK)
  {
    Error_Handler();
  }

  /** Initializes the CPU, AHB and APB buses clocks
  */
  RCC_ClkInitStruct.ClockType = RCC_CLOCKTYPE_HCLK|RCC_CLOCKTYPE_SYSCLK
                              |RCC_CLOCKTYPE_PCLK1|RCC_CLOCKTYPE_PCLK2
                              |RCC_CLOCKTYPE_D3PCLK1|RCC_CLOCKTYPE_D1PCLK1;
  RCC_ClkInitStruct.SYSCLKSource = RCC_SYSCLKSOURCE_PLLCLK;
  RCC_ClkInitStruct.SYSCLKDivider = RCC_SYSCLK_DIV1;
  RCC_ClkInitStruct.AHBCLKDivider = RCC_HCLK_DIV2;
  RCC_ClkInitStruct.APB3CLKDivider = RCC_APB3_DIV2;
  RCC_ClkInitStruct.APB1CLKDivider = RCC_APB1_DIV2;
  RCC_ClkInitStruct.APB2CLKDivider = RCC_APB2_DIV2;
  RCC_ClkInitStruct.APB4CLKDivider = RCC_APB4_DIV2;

  if (HAL_RCC_ClockConfig(&RCC_ClkInitStruct, FLASH_LATENCY_3) != HAL_OK)
  {
    Error_Handler();
  }
}

/* MPU Configuration */

void MPU_Config(void)
{
  MPU_Region_InitTypeDef MPU_InitStruct = {0};

  /* Disables the MPU */
  HAL_MPU_Disable();

  /** Initializes and configures the Region and the memory to be protected
  */
  MPU_InitStruct.Enable = MPU_REGION_ENABLE;
  MPU_InitStruct.Number = MPU_REGION_NUMBER0;
  MPU_InitStruct.BaseAddress = 0x0;
  MPU_InitStruct.Size = MPU_REGION_SIZE_4GB;
  MPU_InitStruct.SubRegionDisable = 0x87;
  MPU_InitStruct.TypeExtField = MPU_TEX_LEVEL0;
  MPU_InitStruct.AccessPermission = MPU_REGION_NO_ACCESS;
  MPU_InitStruct.DisableExec = MPU_INSTRUCTION_ACCESS_DISABLE;
  MPU_InitStruct.IsShareable = MPU_ACCESS_SHAREABLE;
  MPU_InitStruct.IsCacheable = MPU_ACCESS_NOT_CACHEABLE;
  MPU_InitStruct.IsBufferable = MPU_ACCESS_NOT_BUFFERABLE;

  HAL_MPU_ConfigRegion(&MPU_InitStruct);
  /* Enables the MPU */
  HAL_MPU_Enable(MPU_PRIVILEGED_DEFAULT);

}

void HAL_TIM_PeriodElapsedCallback(TIM_HandleTypeDef *htim)
{
  if (htim->Instance == TIM4) {
    HAL_IncTick();
  }
}

void Error_Handler(void)
{
  /* USER CODE BEGIN Error_Handler_Debug */
  /* User can add his own implementation to report the HAL error return state */
  /* 只记第一次，之后保持不动，方便调试器随时读 */
  if (g_crash.magic != 0x43524153UL)
  {
    const char *name = NULL;

    g_crash.magic = 0x43524153UL;
    g_crash.lr    = (uint32_t)__builtin_return_address(0);
    g_crash.msp   = __get_MSP();
    g_crash.psp   = __get_PSP();
    g_crash.ipsr  = __get_IPSR();
    g_crash.tick  = HAL_GetTick();
    g_crash.tcb   = (uint32_t)(uintptr_t)pxCurrentTCB;

    if (pxCurrentTCB != NULL)
    {
      name = pcTaskGetName(NULL);
    }
    for (uint32_t i = 0U; i < (sizeof(g_crash.task) - 1U); ++i)
    {
      if (name == NULL || name[i] == '\0')
      {
        break;
      }
      g_crash.task[i] = name[i];
    }
  }
  g_crash.hits++;

  __disable_irq();
  while (1)
  {
  }
  /* USER CODE END Error_Handler_Debug */
}

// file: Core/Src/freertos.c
/* USER CODE BEGIN Header */
/**
  ******************************************************************************
  * File Name          : freertos.c
  * Description        : Code for freertos applications
  ******************************************************************************
  * @attention
  *
  * Copyright (c) 2026 STMicroelectronics.
  * All rights reserved.
  *
  * This software is licensed under terms that can be found in the LICENSE file
  * in the root directory of this software component.
  * If no LICENSE file comes with this software, it is provided AS-IS.
  *
  ******************************************************************************
  */
/* USER CODE END Header */

#include "FreeRTOS.h"
#include "task.h"
#include "main.h"
#include "cmsis_os.h"

/* USER CODE BEGIN Includes */
#include "task_init.h"
#include "system_define.h"

/* USER CODE END Includes */

void MX_FREERTOS_Init(void); /* (MISRA C 2004 rule 8.1) */

/* GetIdleTaskMemory prototype (linked to static allocation support) */
void vApplicationGetIdleTaskMemory( StaticTask_t **ppxIdleTaskTCBBuffer, StackType_t **ppxIdleTaskStackBuffer, uint32_t *pulIdleTaskStackSize );

/* GetTimerTaskMemory prototype (linked to static allocation support) */
void vApplicationGetTimerTaskMemory( StaticTask_t **ppxTimerTaskTCBBuffer, StackType_t **ppxTimerTaskStackBuffer, uint32_t *pulTimerTaskStackSize );

/* Hook prototypes */
void configureTimerForRunTimeStats(void);
unsigned long getRunTimeCounterValue(void);
void vApplicationStackOverflowHook(xTaskHandle xTask, signed char *pcTaskName);

/* USER CODE BEGIN 1 */
/* Functions needed when configGENERATE_RUN_TIME_STATS is on */
__weak void configureTimerForRunTimeStats(void)
{

}

__weak unsigned long getRunTimeCounterValue(void)
{
return 0;
}
/* USER CODE END 1 */

/* USER CODE BEGIN 4 */
/* 临时调试：任务栈溢出时记录是哪个任务，然后停住，别再带病往下跑。
 * 调试器读 g_stack_overflow_task / g_stack_overflow_count 即可。排查完恢复空实现。 */
volatile uint32_t g_stack_overflow_count;
volatile char     g_stack_overflow_task[24];

__weak void vApplicationStackOverflowHook(xTaskHandle xTask, signed char *pcTaskName)
{
   /* Run time stack overflow checking is performed if
   configCHECK_FOR_STACK_OVERFLOW is defined to 1 or 2. This hook function is
   called if a stack overflow is detected. */
   (void)xTask;

   if (g_stack_overflow_count == 0U)
   {
      for (uint32_t i = 0U; i < (sizeof(g_stack_overflow_task) - 1U); ++i)
      {
         if (pcTaskName == NULL || pcTaskName[i] == '\0')
         {
            break;
         }
         g_stack_overflow_task[i] = (char)pcTaskName[i];
      }
   }
   g_stack_overflow_count++;

   taskDISABLE_INTERRUPTS();
   for (;;)
   {
   }
}
/* USER CODE END 4 */

/* USER CODE BEGIN GET_IDLE_TASK_MEMORY */
static StaticTask_t xIdleTaskTCBBuffer;
static StackType_t xIdleStack[configMINIMAL_STACK_SIZE];

void vApplicationGetIdleTaskMemory( StaticTask_t **ppxIdleTaskTCBBuffer, StackType_t **ppxIdleTaskStackBuffer, uint32_t *pulIdleTaskStackSize )
{
  *ppxIdleTaskTCBBuffer = &xIdleTaskTCBBuffer;
  *ppxIdleTaskStackBuffer = &xIdleStack[0];
  *pulIdleTaskStackSize = configMINIMAL_STACK_SIZE;
  /* place for user code */
}
/* USER CODE END GET_IDLE_TASK_MEMORY */

/* USER CODE BEGIN GET_TIMER_TASK_MEMORY */
static StaticTask_t xTimerTaskTCBBuffer;
static StackType_t xTimerStack[configTIMER_TASK_STACK_DEPTH];

void vApplicationGetTimerTaskMemory( StaticTask_t **ppxTimerTaskTCBBuffer, StackType_t **ppxTimerTaskStackBuffer, uint32_t *pulTimerTaskStackSize )
{
  *ppxTimerTaskTCBBuffer = &xTimerTaskTCBBuffer;
  *ppxTimerTaskStackBuffer = &xTimerStack[0];
  *pulTimerTaskStackSize = configTIMER_TASK_STACK_DEPTH;
  /* place for user code */
}
/* USER CODE END GET_TIMER_TASK_MEMORY */

void MX_FREERTOS_Init(void) {

  /* Create the thread(s) */
  /* definition and creation of defaultTask */
  /* 原来只有 128 words = 512 字节，却要跑 MX_USB_DEVICE_Init 整条调用链，加大到 2 KB */

  /* USER CODE BEGIN RTOS_THREADS */
  xTaskCreate(InitTask, "InitTask", TASK_INIT_STACK_SIZE, NULL,
              TASK_INIT_PRIORITY, NULL);
  /* USER CODE END RTOS_THREADS */

}

void StartDefaultTask(void const * argument)
{
  /* USER CODE BEGIN StartDefaultTask */
  /* 暂时不初始化 USB_DEVICE。
   *
   * 实测：本板 USB_OTG_HS 的核软复位完不成——USB_CoreReset 里写 GRSTCTL.CSRST
   * 之后硬件永远不清这个位（读回来一直是 0x80000001），HAL 只能空转
   * HAL_USB_TIMEOUT(0xF000000) 次后返回 HAL_TIMEOUT，整整卡 9.5 秒；
   * 接着 HAL_PCD_Init 返回 HAL_ERROR，旧代码走到 Error_Handler()，
   * 而 Error_Handler() 是 __disable_irq() + while(1)，于是开机约 9.6 秒后
   * TIM4 时基、FreeRTOS 调度、全部 CAN 收发一起停死，表现就是「所有帧同时没了」。
   *
   * 已经确认不是配置问题：HSI48 已开且就绪、D2CCIP2R.USBSEL=HSI48、
   * AHB1ENR.USB1OTGHSEN=1、PWR_CR3.USB33DEN/USB33RDY=1、GUSBCFG.PHYSEL=1，
   * 唯独 CSRST 不返回，属于 USB 核本身的问题。
   *
   * 本项目没有用到 USB，先不初始化；以后要启用 USB 必须先查清核复位为何不完成。 */
  /* MX_USB_DEVICE_Init(); */
  /* Infinite loop */
  for(;;)
  {
    osDelay(1);
  }
  /* USER CODE END StartDefaultTask */
}
